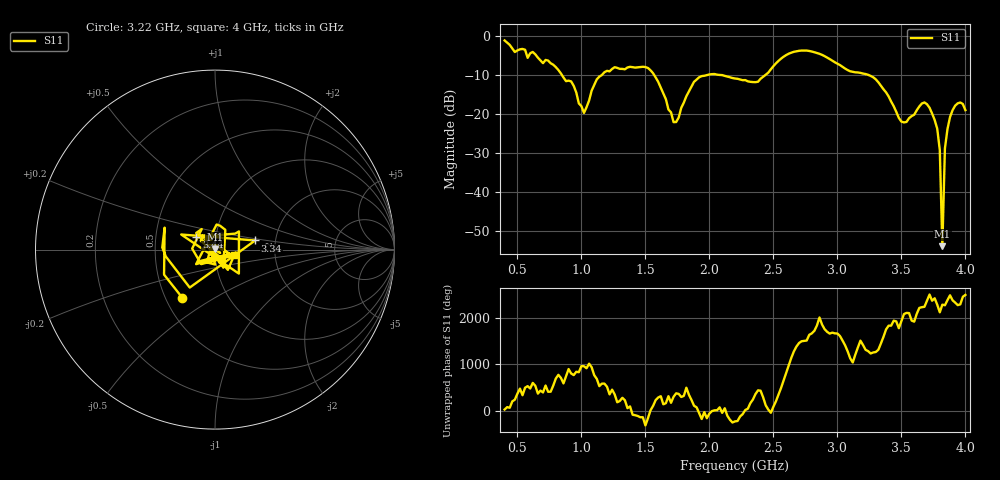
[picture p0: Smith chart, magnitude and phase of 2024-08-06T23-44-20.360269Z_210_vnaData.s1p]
!Created with skrf (http://scikit-rf.org).
# Hz S RI R 50.0
!freq ReS11 ImS11
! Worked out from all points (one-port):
!   181 points, 400 MHz to 4 GHz, reference 50 ohm
!   lowest |S11| = -53.9 dB at 3.82 GHz (marker M1), VSWR 1.00, Z = 49.9 + j0.148 ohm
!   |S11| at or under -10 dB: 1.568 GHz to 1.989 GHz (421.8 MHz wide, 23.7 % of centre); 2.072 GHz to 2.439 GHz (367.2 MHz wide, 16.3 % of centre); 3.24 GHz to end of sweep (the widest 3 of 4)
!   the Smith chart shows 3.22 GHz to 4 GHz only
!   S11 on the Smith chart (normalised r, x): 3.22 GHz: 0.61, -0.36; 3.34 GHz: 1.57, +0.17; 3.44 GHz: 0.80, +0.11; 4 GHz: 1.24, -0.08
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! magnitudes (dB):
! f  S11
! 400 MHz  -1.2
! 860 MHz  -10.7
! 940 MHz  -12.8
! 1.02 GHz  -19.8
! 1.12 GHz  -11.2
! 1.3 GHz  -8.5
! 1.52 GHz  -8.2
! 1.6 GHz  -11.8
! 1.72 GHz  -22.1
! 1.76 GHz  -21.0
! 1.92 GHz  -10.6
! 2.2 GHz  -10.9
! 2.38 GHz  -11.8
! 2.66 GHz  -4.1
! 3.1 GHz  -9.1
! 3.22 GHz  -9.8
! 3.34 GHz  -12.8
! 3.44 GHz  -18.0
! 3.5 GHz  -22.0
! 3.56 GHz  -21.1
! 3.68 GHz  -17.1
! 3.78 GHz  -23.8
! 3.8 GHz  -29.3
! 3.82 GHz  -53.9
! 3.84 GHz  -28.8
! 3.86 GHz  -23.9
! 3.92 GHz  -17.9
! 4 GHz  -19.0
